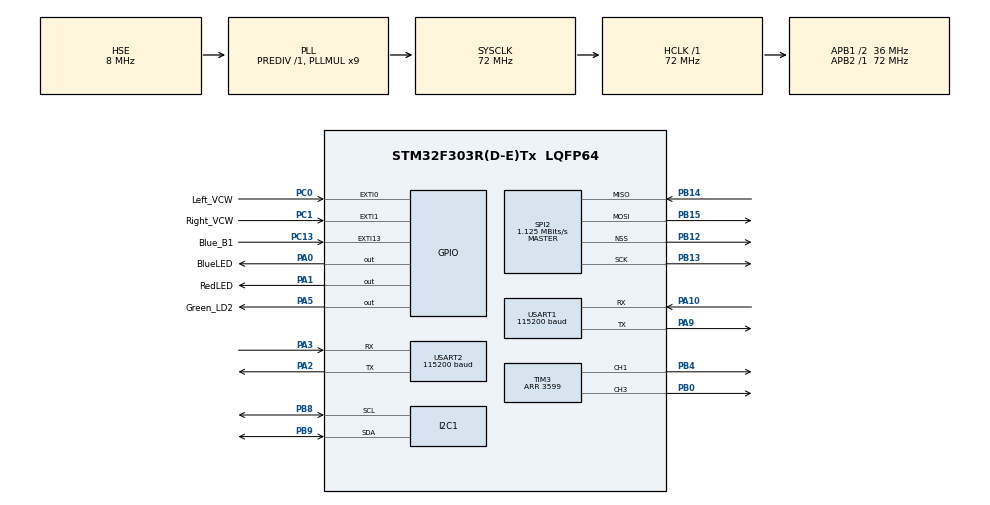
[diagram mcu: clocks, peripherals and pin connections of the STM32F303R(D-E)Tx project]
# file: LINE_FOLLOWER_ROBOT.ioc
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Dma.Request0=USART1_RX
Dma.Request1=USART1_TX
Dma.Request2=USART2_TX
Dma.Request3=USART2_RX
Dma.USART1_RX.0.Direction=DMA_PERIPH_TO_MEMORY
Dma.USART1_RX.0.Instance=DMA1_Channel5
Dma.USART1_RX.0.MemDataAlignment=DMA_MDATAALIGN_BYTE
Dma.USART1_RX.0.MemInc=DMA_MINC_ENABLE
Dma.USART1_RX.0.Mode=DMA_NORMAL
Dma.USART1_RX.0.PeriphDataAlignment=DMA_PDATAALIGN_BYTE
Dma.USART1_RX.0.PeriphInc=DMA_PINC_DISABLE
Dma.USART1_RX.0.Priority=DMA_PRIORITY_LOW
Dma.USART1_TX.1.Direction=DMA_MEMORY_TO_PERIPH
Dma.USART1_TX.1.Instance=DMA1_Channel4
Dma.USART1_TX.1.MemDataAlignment=DMA_MDATAALIGN_BYTE
Dma.USART1_TX.1.MemInc=DMA_MINC_ENABLE
Dma.USART1_TX.1.Mode=DMA_NORMAL
Dma.USART1_TX.1.PeriphDataAlignment=DMA_PDATAALIGN_BYTE
Dma.USART1_TX.1.PeriphInc=DMA_PINC_DISABLE
Dma.USART1_TX.1.Priority=DMA_PRIORITY_LOW
Dma.USART2_RX.3.Direction=DMA_PERIPH_TO_MEMORY
Dma.USART2_RX.3.Instance=DMA1_Channel6
Dma.USART2_RX.3.MemDataAlignment=DMA_MDATAALIGN_BYTE
Dma.USART2_RX.3.MemInc=DMA_MINC_ENABLE
Dma.USART2_RX.3.Mode=DMA_NORMAL
Dma.USART2_RX.3.PeriphDataAlignment=DMA_PDATAALIGN_BYTE
Dma.USART2_RX.3.PeriphInc=DMA_PINC_DISABLE
Dma.USART2_RX.3.Priority=DMA_PRIORITY_LOW
Dma.USART2_TX.2.Direction=DMA_MEMORY_TO_PERIPH
Dma.USART2_TX.2.Instance=DMA1_Channel7
Dma.USART2_TX.2.MemDataAlignment=DMA_MDATAALIGN_BYTE
Dma.USART2_TX.2.MemInc=DMA_MINC_ENABLE
Dma.USART2_TX.2.Mode=DMA_NORMAL
Dma.USART2_TX.2.PeriphDataAlignment=DMA_PDATAALIGN_BYTE
Dma.USART2_TX.2.PeriphInc=DMA_PINC_DISABLE
Dma.USART2_TX.2.Priority=DMA_PRIORITY_LOW
I2C1.Timing=0x00201D2B
Mcu.Family=STM32F3
Mcu.Name=STM32F303R(D-E)Tx
Mcu.Package=LQFP64
NVIC.DMA1_Channel4_IRQn=true\:0\:0\:false\:false\:true\:false\:true\:true
NVIC.DMA1_Channel5_IRQn=true\:0\:0\:false\:false\:true\:false\:true\:true
NVIC.DMA1_Channel6_IRQn=true\:0\:0\:false\:false\:true\:false\:true\:true
NVIC.DMA1_Channel7_IRQn=true\:0\:0\:false\:false\:true\:false\:true\:true
NVIC.EXTI0_IRQn=true\:0\:0\:false\:false\:true\:true\:true\:true
NVIC.EXTI15_10_IRQn=true\:0\:0\:false\:false\:true\:true\:true\:true
NVIC.EXTI1_IRQn=true\:0\:0\:false\:false\:true\:true\:true\:true
NVIC.PriorityGroup=NVIC_PRIORITYGROUP_4
NVIC.SPI2_IRQn=true\:0\:0\:false\:false\:true\:true\:true\:true
NVIC.USART1_IRQn=true\:0\:0\:false\:false\:true\:true\:true\:true
NVIC.USART2_IRQn=true\:0\:0\:false\:false\:true\:true\:true\:true
PA0.GPIO_Label=BlueLED
PA0.GPIO_ModeDefaultOutputPP=GPIO_MODE_OUTPUT_OD
PA0.GPIO_PuPd=GPIO_NOPULL
PA0.Signal=GPIO_Output
PA1.GPIO_Label=RedLED
PA1.GPIO_ModeDefaultOutputPP=GPIO_MODE_OUTPUT_OD
PA1.GPIO_PuPd=GPIO_NOPULL
PA1.Signal=GPIO_Output
PA10.Mode=Asynchronous
PA10.Signal=USART1_RX
PA13.Mode=Trace_Asynchronous_SW
PA13.Signal=SYS_JTMS-SWDIO
PA14.Mode=Trace_Asynchronous_SW
PA14.Signal=SYS_JTCK-SWCLK
PA2.Mode=Asynchronous
PA2.Signal=USART2_TX
PA3.Mode=Asynchronous
PA3.Signal=USART2_RX
PA5.GPIO_Label=Green_LD2
PA5.Signal=GPIO_Output
PA9.Mode=Asynchronous
PA9.Signal=USART1_TX
PB0.Signal=S_TIM3_CH3
PB12.Mode=NSS_Signal_Hard_Output
PB12.Signal=SPI2_NSS
PB13.Mode=Full_Duplex_Master
PB13.Signal=SPI2_SCK
PB14.Mode=Full_Duplex_Master
PB14.Signal=SPI2_MISO
PB15.Mode=Full_Duplex_Master
PB15.Signal=SPI2_MOSI
PB3.Mode=Trace_Asynchronous_SW
PB3.Signal=SYS_JTDO-TRACESWO
PB4.Signal=S_TIM3_CH1
PB8.Mode=I2C
PB8.Signal=I2C1_SCL
PB9.Mode=I2C
PB9.Signal=I2C1_SDA
PC0.GPIO_Label=Left_VCW
PC0.GPIO_ModeDefaultEXTI=GPIO_MODE_IT_RISING_FALLING
PC0.Signal=GPXTI0
PC1.GPIO_Label=Right_VCW
PC1.GPIO_ModeDefaultEXTI=GPIO_MODE_IT_RISING_FALLING
PC1.Signal=GPXTI1
PC13.GPIO_Label=Blue_B1
PC13.GPIO_ModeDefaultEXTI=GPIO_MODE_IT_FALLING
PC13.Signal=GPXTI13
PC14-OSC32_IN.Mode=LSE-External-Oscillator
PC14-OSC32_IN.Signal=RCC_OSC32_IN
PC15-OSC32_OUT.Mode=LSE-External-Oscillator
PC15-OSC32_OUT.Signal=RCC_OSC32_OUT
PF0-OSC_IN.Mode=HSE-External-Clock-Source
PF0-OSC_IN.Signal=RCC_OSC_IN
ProjectManager.HeapSize=0x200
ProjectManager.StackSize=0x400
ProjectManager.TargetToolchain=STM32CubeIDE
RCC.AHBFreq_Value=72000000
RCC.APB1CLKDivider=RCC_HCLK_DIV2
RCC.APB1Freq_Value=36000000
RCC.APB1TimFreq_Value=72000000
RCC.APB2Freq_Value=72000000
RCC.APB2TimFreq_Value=72000000
RCC.CortexFreq_Value=72000000
RCC.HCLKFreq_Value=72000000
RCC.HSE_VALUE=8000000
RCC.HSI_VALUE=8000000
RCC.PLLMUL=RCC_PLL_MUL9
RCC.PLLSourceVirtual=RCC_PLLSOURCE_HSE
RCC.SYSCLKFreq_VALUE=72000000
RCC.SYSCLKSourceVirtual=RCC_SYSCLKSOURCE_PLLCLK
RCC.USBFreq_Value=72000000
SH.S_TIM3_CH1.0=TIM3_CH1,PWM Generation1 CH1
SH.S_TIM3_CH3.0=TIM3_CH3,PWM Generation3 CH3
SPI2.BaudRatePrescaler=SPI_BAUDRATEPRESCALER_32
SPI2.CLKPhase=SPI_PHASE_2EDGE
SPI2.CLKPolarity=SPI_POLARITY_HIGH
SPI2.CalculateBaudRate=1.125 MBits/s
SPI2.DataSize=SPI_DATASIZE_8BIT
SPI2.Direction=SPI_DIRECTION_2LINES
SPI2.Mode=SPI_MODE_MASTER
SPI2.VirtualNSS=VM_NSSHARD
SPI2.VirtualType=VM_MASTER
TIM3.AutoReloadPreload=TIM_AUTORELOAD_PRELOAD_ENABLE
TIM3.Channel-PWM\ Generation1\ CH1=TIM_CHANNEL_1
TIM3.Channel-PWM\ Generation3\ CH3=TIM_CHANNEL_3
TIM3.OC1Preload_PWM=DISABLE
TIM3.OC3Preload_PWM=DISABLE
TIM3.Period=3599
TIM3.Pulse-PWM\ Generation1\ CH1=500
TIM3.Pulse-PWM\ Generation3\ CH3=700
USART1.BaudRate=115200
USART1.VirtualMode-Asynchronous=VM_ASYNC
USART2.BaudRate=115200
USART2.VirtualMode-Asynchronous=VM_ASYNC
VP_TIM3_VS_ClockSourceINT.Mode=Internal
board=custom

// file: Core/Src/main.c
/* USER CODE BEGIN Header */
/**
 ******************************************************************************
 * @file           : main.c
 * @brief          : Main program body
 ******************************************************************************
 * @attention
 *
 * Copyright (c) 2025 STMicroelectronics.
 * All rights reserved.
 *
 * This software is licensed under terms that can be found in the LICENSE file
 * in the root directory of this software component.
 * If no LICENSE file comes with this software, it is provided AS-IS.
 *
 ******************************************************************************
 */
/* USER CODE END Header */
#include "main.h"

/* USER CODE BEGIN Includes */
#include "esp.h"
#include "pixy.h"
#include "motor.h"
#include "lcd.h"
/* USER CODE END Includes */

/* USER CODE BEGIN PD */

// uncomment if you wish to obtain your gradient for motors
//#define TEST_MOTOR

/* USER CODE END PD */

I2C_HandleTypeDef hi2c1;

SPI_HandleTypeDef hspi2;

TIM_HandleTypeDef htim3;

UART_HandleTypeDef huart1;
UART_HandleTypeDef huart2;
DMA_HandleTypeDef hdma_usart1_rx;
DMA_HandleTypeDef hdma_usart1_tx;
DMA_HandleTypeDef hdma_usart2_tx;
DMA_HandleTypeDef hdma_usart2_rx;

/* USER CODE BEGIN PV */
BLINKER_TypeDef greenBlinker;

extern ESP_t g_ESP;
extern Pixy_t g_Pixy;
extern Motor_t g_Motor;
extern UART_Rx_t g_UART1_rx;
extern UART_Tx_t g_UART1_tx;
extern UART_Rx_t g_UART2_rx;
extern UART_Tx_t g_UART2_tx;
extern VelocimetricWheel_t g_left_VCW;
extern VelocimetricWheel_t g_right_VCW;
extern PIDController_t g_PID_controller;

#ifdef TEST_MOTOR
extern TestMotor_t g_test_motors;
#endif
/* USER CODE END PV */

void SystemClock_Config(void);
static void MX_GPIO_Init(void);
static void MX_DMA_Init(void);
static void MX_USART2_UART_Init(void);
static void MX_USART1_UART_Init(void);
static void MX_I2C1_Init(void);
static void MX_SPI2_Init(void);
static void MX_TIM3_Init(void);

int main(void) {

	/* MCU Configuration--------------------------------------------------------*/

	/* Reset of all peripherals, Initializes the Flash interface and the Systick. */
	HAL_Init();

	/* Configure the system clock */
	SystemClock_Config();

	/* Initialize all configured peripherals */
	MX_GPIO_Init();
	MX_DMA_Init();
	MX_USART2_UART_Init();
	MX_USART1_UART_Init();
	MX_I2C1_Init();
	MX_SPI2_Init();
	MX_TIM3_Init();
	/* USER CODE BEGIN 2 */

	// initialize uart
	link_uarts(&g_UART2_rx, &g_UART1_tx);
	init_uart_rx_ptrs(&g_UART2_rx);
	init_uart_tx_ptrs(&g_UART1_tx);
	link_uarts(&g_UART1_rx, &g_UART2_tx);
	init_uart_rx_ptrs(&g_UART1_rx);
	init_uart_tx_ptrs(&g_UART2_tx);

	// start Reception
	start_uart_rx_to_idle(&g_UART2_rx);
	__HAL_DMA_DISABLE_IT(g_UART2_rx.hdma_rx, DMA_IT_HT);
	start_uart_rx_to_idle(&g_UART1_rx);
	__HAL_DMA_DISABLE_IT(g_UART1_rx.hdma_rx, DMA_IT_HT);
//	printf("Initialized UART1 and UART2\n");

// initialize pixy pointers
	init_pixy_struct(&g_Pixy);
//	printf("Initialized Pixy Camera\n");

// stop the LED from blinking
	HAL_GPIO_WritePin(BlueLED_GPIO_Port, BlueLED_Pin, GPIO_PIN_SET);
	HAL_GPIO_WritePin(RedLED_GPIO_Port, RedLED_Pin, GPIO_PIN_SET);
//	printf("Initialized Red and Blue LEDs\n");

// initialize LCD
	HD44780_Init(2);
	HD44780_Clear();
	HD44780_SetBacklight(1);
	HD44780_SetCursor(0, 0);
//	printf("Initialized LCD Display\n");

	LCD_Print("System Init");
	printf("System Initialized\n");

#ifdef TEST_MOTOR
	g_test_motors.last_tested_time = uwTick;
	HAL_TIM_PWM_Start(g_test_motors.htim, g_test_motors.left_channel);
	HAL_TIM_PWM_Start(g_test_motors.htim, g_test_motors.right_channel);
	g_test_motors.PWM_command_ptr = g_test_motors.PWM_commands;
#endif

	/* USER CODE END 2 */

	/* Infinite loop */
	/* USER CODE BEGIN WHILE */
	while (1) {
		// Insert all components state machines here
		esp_control(&g_ESP);

		pixy_control(&g_Pixy);

		motor_control(&g_Motor, &g_PID_controller, &g_left_VCW, &g_right_VCW);

#ifdef TEST_MOTOR
		obtain_graph_formula(&g_test_motors, &g_Motor, &g_left_VCW, &g_right_VCW);
#endif

		if ((uwTick != greenBlinker.lastTick)
				&& (greenBlinker.expiryTick > 0)) {
			greenBlinker.expiryTick -= 1;
			if (greenBlinker.expiryTick == 0) {
				HAL_GPIO_TogglePin(Green_LD2_GPIO_Port, Green_LD2_Pin);
				greenBlinker.expiryTick = greenBlinker.delayValue;
			}
			greenBlinker.lastTick = uwTick;
		}
		/* USER CODE END WHILE */

	}
}

void SystemClock_Config(void) {
	RCC_OscInitTypeDef RCC_OscInitStruct = { 0 };
	RCC_ClkInitTypeDef RCC_ClkInitStruct = { 0 };
	RCC_PeriphCLKInitTypeDef PeriphClkInit = { 0 };

	/** Initializes the RCC Oscillators according to the specified parameters
	 * in the RCC_OscInitTypeDef structure.
	 */
	RCC_OscInitStruct.OscillatorType = RCC_OSCILLATORTYPE_HSI
			| RCC_OSCILLATORTYPE_HSE;
	RCC_OscInitStruct.HSEState = RCC_HSE_BYPASS;
	RCC_OscInitStruct.HSIState = RCC_HSI_ON;
	RCC_OscInitStruct.HSICalibrationValue = RCC_HSICALIBRATION_DEFAULT;
	RCC_OscInitStruct.PLL.PLLState = RCC_PLL_ON;
	RCC_OscInitStruct.PLL.PLLSource = RCC_PLLSOURCE_HSE;
	RCC_OscInitStruct.PLL.PLLMUL = RCC_PLL_MUL9;
	RCC_OscInitStruct.PLL.PREDIV = RCC_PREDIV_DIV1;
	if (HAL_RCC_OscConfig(&RCC_OscInitStruct) != HAL_OK) {
		Error_Handler();
	}

	/** Initializes the CPU, AHB and APB buses clocks
	 */
	RCC_ClkInitStruct.ClockType = RCC_CLOCKTYPE_HCLK | RCC_CLOCKTYPE_SYSCLK
			| RCC_CLOCKTYPE_PCLK1 | RCC_CLOCKTYPE_PCLK2;
	RCC_ClkInitStruct.SYSCLKSource = RCC_SYSCLKSOURCE_PLLCLK;
	RCC_ClkInitStruct.AHBCLKDivider = RCC_SYSCLK_DIV1;
	RCC_ClkInitStruct.APB1CLKDivider = RCC_HCLK_DIV2;
	RCC_ClkInitStruct.APB2CLKDivider = RCC_HCLK_DIV1;

	if (HAL_RCC_ClockConfig(&RCC_ClkInitStruct, FLASH_LATENCY_2) != HAL_OK) {
		Error_Handler();
	}
	PeriphClkInit.PeriphClockSelection = RCC_PERIPHCLK_USART1
			| RCC_PERIPHCLK_USART2 | RCC_PERIPHCLK_I2C1 | RCC_PERIPHCLK_TIM34;
	PeriphClkInit.Usart1ClockSelection = RCC_USART1CLKSOURCE_PCLK2;
	PeriphClkInit.Usart2ClockSelection = RCC_USART2CLKSOURCE_PCLK1;
	PeriphClkInit.I2c1ClockSelection = RCC_I2C1CLKSOURCE_HSI;
	PeriphClkInit.Tim34ClockSelection = RCC_TIM34CLK_HCLK;
	if (HAL_RCCEx_PeriphCLKConfig(&PeriphClkInit) != HAL_OK) {
		Error_Handler();
	}
}

static void MX_I2C1_Init(void) {

	hi2c1.Instance = I2C1;
	hi2c1.Init.Timing = 0x00201D2B;
	hi2c1.Init.OwnAddress1 = 0;
	hi2c1.Init.AddressingMode = I2C_ADDRESSINGMODE_7BIT;
	hi2c1.Init.DualAddressMode = I2C_DUALADDRESS_DISABLE;
	hi2c1.Init.OwnAddress2 = 0;
	hi2c1.Init.OwnAddress2Masks = I2C_OA2_NOMASK;
	hi2c1.Init.GeneralCallMode = I2C_GENERALCALL_DISABLE;
	hi2c1.Init.NoStretchMode = I2C_NOSTRETCH_DISABLE;
	if (HAL_I2C_Init(&hi2c1) != HAL_OK) {
		Error_Handler();
	}

	/** Configure Analogue filter
	 */
	if (HAL_I2CEx_ConfigAnalogFilter(&hi2c1, I2C_ANALOGFILTER_ENABLE)
			!= HAL_OK) {
		Error_Handler();
	}

	/** Configure Digital filter
	 */
	if (HAL_I2CEx_ConfigDigitalFilter(&hi2c1, 0) != HAL_OK) {
		Error_Handler();
	}

}

static void MX_SPI2_Init(void) {

	/* SPI2 parameter configuration*/
	hspi2.Instance = SPI2;
	hspi2.Init.Mode = SPI_MODE_MASTER;
	hspi2.Init.Direction = SPI_DIRECTION_2LINES;
	hspi2.Init.DataSize = SPI_DATASIZE_8BIT;
	hspi2.Init.CLKPolarity = SPI_POLARITY_HIGH;
	hspi2.Init.CLKPhase = SPI_PHASE_2EDGE;
	hspi2.Init.NSS = SPI_NSS_HARD_OUTPUT;
	hspi2.Init.BaudRatePrescaler = SPI_BAUDRATEPRESCALER_32;
	hspi2.Init.FirstBit = SPI_FIRSTBIT_MSB;
	hspi2.Init.TIMode = SPI_TIMODE_DISABLE;
	hspi2.Init.CRCCalculation = SPI_CRCCALCULATION_DISABLE;
	hspi2.Init.CRCPolynomial = 7;
	hspi2.Init.CRCLength = SPI_CRC_LENGTH_DATASIZE;
	hspi2.Init.NSSPMode = SPI_NSS_PULSE_DISABLE;
	if (HAL_SPI_Init(&hspi2) != HAL_OK) {
		Error_Handler();
	}

}

static void MX_TIM3_Init(void) {

	TIM_ClockConfigTypeDef sClockSourceConfig = { 0 };
	TIM_MasterConfigTypeDef sMasterConfig = { 0 };
	TIM_OC_InitTypeDef sConfigOC = { 0 };

	htim3.Instance = TIM3;
	htim3.Init.Prescaler = 0;
	htim3.Init.CounterMode = TIM_COUNTERMODE_UP;
	htim3.Init.Period = 3599;
	htim3.Init.ClockDivision = TIM_CLOCKDIVISION_DIV1;
	htim3.Init.AutoReloadPreload = TIM_AUTORELOAD_PRELOAD_ENABLE;
	if (HAL_TIM_Base_Init(&htim3) != HAL_OK) {
		Error_Handler();
	}
	sClockSourceConfig.ClockSource = TIM_CLOCKSOURCE_INTERNAL;
	if (HAL_TIM_ConfigClockSource(&htim3, &sClockSourceConfig) != HAL_OK) {
		Error_Handler();
	}
	if (HAL_TIM_PWM_Init(&htim3) != HAL_OK) {
		Error_Handler();
	}
	sMasterConfig.MasterOutputTrigger = TIM_TRGO_RESET;
	sMasterConfig.MasterSlaveMode = TIM_MASTERSLAVEMODE_DISABLE;
	if (HAL_TIMEx_MasterConfigSynchronization(&htim3, &sMasterConfig)
			!= HAL_OK) {
		Error_Handler();
	}
	sConfigOC.OCMode = TIM_OCMODE_PWM1;
	sConfigOC.Pulse = 500;
	sConfigOC.OCPolarity = TIM_OCPOLARITY_HIGH;
	sConfigOC.OCFastMode = TIM_OCFAST_DISABLE;
	if (HAL_TIM_PWM_ConfigChannel(&htim3, &sConfigOC, TIM_CHANNEL_1)
			!= HAL_OK) {
		Error_Handler();
	}
	__HAL_TIM_DISABLE_OCxPRELOAD(&htim3, TIM_CHANNEL_1);
	sConfigOC.Pulse = 700;
	if (HAL_TIM_PWM_ConfigChannel(&htim3, &sConfigOC, TIM_CHANNEL_3)
			!= HAL_OK) {
		Error_Handler();
	}
	__HAL_TIM_DISABLE_OCxPRELOAD(&htim3, TIM_CHANNEL_3);
	HAL_TIM_MspPostInit(&htim3);

}

static void MX_USART1_UART_Init(void) {

	huart1.Instance = USART1;
	huart1.Init.BaudRate = 115200;
	huart1.Init.WordLength = UART_WORDLENGTH_8B;
	huart1.Init.StopBits = UART_STOPBITS_1;
	huart1.Init.Parity = UART_PARITY_NONE;
	huart1.Init.Mode = UART_MODE_TX_RX;
	huart1.Init.HwFlowCtl = UART_HWCONTROL_NONE;
	huart1.Init.OverSampling = UART_OVERSAMPLING_16;
	huart1.Init.OneBitSampling = UART_ONE_BIT_SAMPLE_DISABLE;
	huart1.AdvancedInit.AdvFeatureInit = UART_ADVFEATURE_NO_INIT;
	if (HAL_UART_Init(&huart1) != HAL_OK) {
		Error_Handler();
	}

}

static void MX_USART2_UART_Init(void) {

	huart2.Instance = USART2;
	huart2.Init.BaudRate = 115200;
	huart2.Init.WordLength = UART_WORDLENGTH_8B;
	huart2.Init.StopBits = UART_STOPBITS_1;
	huart2.Init.Parity = UART_PARITY_NONE;
	huart2.Init.Mode = UART_MODE_TX_RX;
	huart2.Init.HwFlowCtl = UART_HWCONTROL_NONE;
	huart2.Init.OverSampling = UART_OVERSAMPLING_16;
	huart2.Init.OneBitSampling = UART_ONE_BIT_SAMPLE_DISABLE;
	huart2.AdvancedInit.AdvFeatureInit = UART_ADVFEATURE_NO_INIT;
	if (HAL_UART_Init(&huart2) != HAL_OK) {
		Error_Handler();
	}

}

static void MX_DMA_Init(void) {

	/* DMA controller clock enable */
	__HAL_RCC_DMA1_CLK_ENABLE();

	/* DMA interrupt init */
	/* DMA1_Channel4_IRQn interrupt configuration */
	HAL_NVIC_SetPriority(DMA1_Channel4_IRQn, 0, 0);
	HAL_NVIC_EnableIRQ(DMA1_Channel4_IRQn);
	/* DMA1_Channel5_IRQn interrupt configuration */
	HAL_NVIC_SetPriority(DMA1_Channel5_IRQn, 0, 0);
	HAL_NVIC_EnableIRQ(DMA1_Channel5_IRQn);
	/* DMA1_Channel6_IRQn interrupt configuration */
	HAL_NVIC_SetPriority(DMA1_Channel6_IRQn, 0, 0);
	HAL_NVIC_EnableIRQ(DMA1_Channel6_IRQn);
	/* DMA1_Channel7_IRQn interrupt configuration */
	HAL_NVIC_SetPriority(DMA1_Channel7_IRQn, 0, 0);
	HAL_NVIC_EnableIRQ(DMA1_Channel7_IRQn);

}

static void MX_GPIO_Init(void) {
	GPIO_InitTypeDef GPIO_InitStruct = { 0 };

	/* GPIO Ports Clock Enable */
	__HAL_RCC_GPIOC_CLK_ENABLE();
	__HAL_RCC_GPIOF_CLK_ENABLE();
	__HAL_RCC_GPIOA_CLK_ENABLE();
	__HAL_RCC_GPIOB_CLK_ENABLE();

	/*Configure GPIO pin Output Level */
	HAL_GPIO_WritePin(GPIOA, BlueLED_Pin | RedLED_Pin | Green_LD2_Pin,
			GPIO_PIN_RESET);

	/*Configure GPIO pin : Blue_B1_Pin */
	GPIO_InitStruct.Pin = Blue_B1_Pin;
	GPIO_InitStruct.Mode = GPIO_MODE_IT_FALLING;
	GPIO_InitStruct.Pull = GPIO_NOPULL;
	HAL_GPIO_Init(Blue_B1_GPIO_Port, &GPIO_InitStruct);

	/*Configure GPIO pins : Left_VCW_Pin Right_VCW_Pin */
	GPIO_InitStruct.Pin = Left_VCW_Pin | Right_VCW_Pin;
	GPIO_InitStruct.Mode = GPIO_MODE_IT_RISING_FALLING;
	GPIO_InitStruct.Pull = GPIO_NOPULL;
	HAL_GPIO_Init(GPIOC, &GPIO_InitStruct);

	/*Configure GPIO pins : BlueLED_Pin RedLED_Pin */
	GPIO_InitStruct.Pin = BlueLED_Pin | RedLED_Pin;
	GPIO_InitStruct.Mode = GPIO_MODE_OUTPUT_OD;
	GPIO_InitStruct.Pull = GPIO_NOPULL;
	GPIO_InitStruct.Speed = GPIO_SPEED_FREQ_LOW;
	HAL_GPIO_Init(GPIOA, &GPIO_InitStruct);

	/*Configure GPIO pin : Green_LD2_Pin */
	GPIO_InitStruct.Pin = Green_LD2_Pin;
	GPIO_InitStruct.Mode = GPIO_MODE_OUTPUT_PP;
	GPIO_InitStruct.Pull = GPIO_NOPULL;
	GPIO_InitStruct.Speed = GPIO_SPEED_FREQ_LOW;
	HAL_GPIO_Init(Green_LD2_GPIO_Port, &GPIO_InitStruct);

	/* EXTI interrupt init*/
	HAL_NVIC_SetPriority(EXTI0_IRQn, 0, 0);
	HAL_NVIC_EnableIRQ(EXTI0_IRQn);

	HAL_NVIC_SetPriority(EXTI1_IRQn, 0, 0);
	HAL_NVIC_EnableIRQ(EXTI1_IRQn);

	HAL_NVIC_SetPriority(EXTI15_10_IRQn, 0, 0);
	HAL_NVIC_EnableIRQ(EXTI15_10_IRQn);

}

/* USER CODE BEGIN 4 */
int _write(int file, char *ptr, int len) {
	int DataIdx;

	for (DataIdx = 0; DataIdx < len; DataIdx++) {
		//__io_putchar(*ptr++);
		ITM_SendChar(*ptr++);
	}
	return len;
}
/* USER CODE END 4 */

void Error_Handler(void) {
	__disable_irq();
	while (1) {
	}
}
